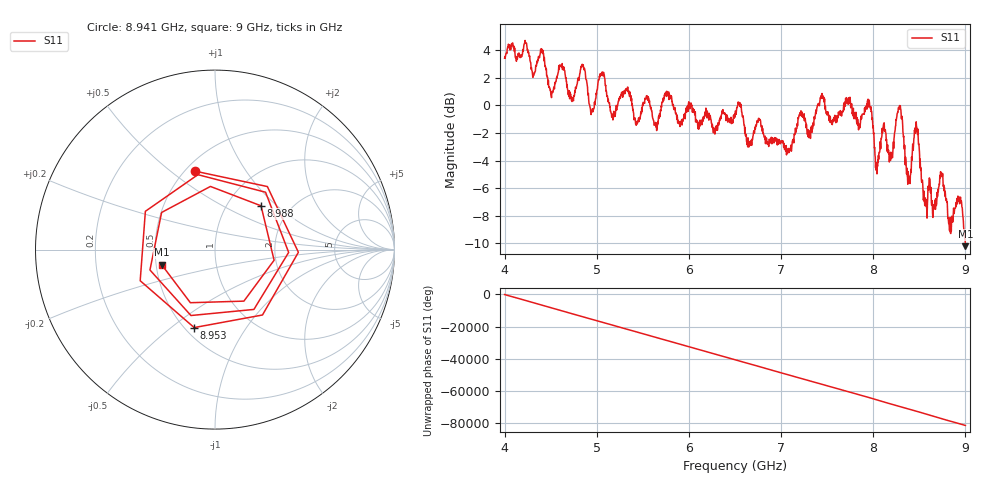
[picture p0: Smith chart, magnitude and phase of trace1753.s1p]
! Created with skrf 1.8.0 (http://scikit-rf.org).
# Hz S RI R 50.0
!freq ReS11 ImS11
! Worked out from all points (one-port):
!   1601 points, 4 GHz to 9 GHz, reference 50 ohm
!   lowest |S11| = -10.2 dB at 9 GHz (marker M1), VSWR 1.89, Z = 26.8 - j4.99 ohm
!   |S11| at or under -10 dB: 8.998691 GHz to end of sweep
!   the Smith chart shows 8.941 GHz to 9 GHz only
!   S11 on the Smith chart (normalised r, x): 8.941 GHz: 0.56, +0.61; 8.953 GHz: 0.56, -0.61; 8.988 GHz: 1.43, +0.80; 9 GHz: 0.54, -0.10
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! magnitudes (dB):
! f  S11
! 4 GHz  3.4
! 4.406 GHz  3.8
! 4.506 GHz  0.7
! 4.625 GHz  3.0
! 4.731 GHz  0.3
! 4.853 GHz  2.9
! 4.947 GHz  -0.5
! 5.053 GHz  2.3
! 5.172 GHz  -0.8
! 5.25 GHz  0.6
! 5.875 GHz  -0.9
! 6.5 GHz  -0.7
! 7.125 GHz  -2.5
! 7.447 GHz  0.5
! 7.75 GHz  0.5
! 7.959 GHz  0.1
! 8.044 GHz  -4.3
! 8.112 GHz  -1.4
! 8.197 GHz  -3.8
! 8.288 GHz  0.0
! 8.375 GHz  -5.7
! 8.466 GHz  -1.2
! 8.566 GHz  -6.7
! 8.741 GHz  -5.0
! 8.941 GHz  -6.9
! 8.953 GHz  -6.9
! 8.988 GHz  -9.0
! 9 GHz  -10.2
